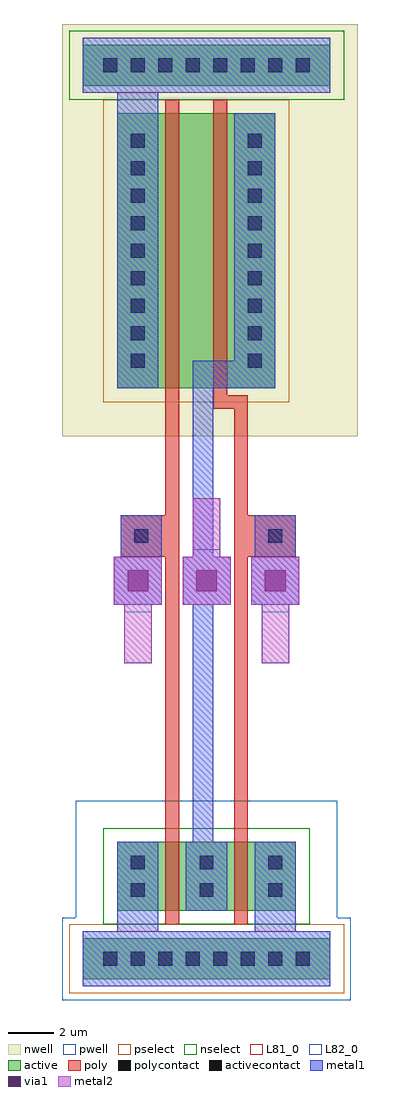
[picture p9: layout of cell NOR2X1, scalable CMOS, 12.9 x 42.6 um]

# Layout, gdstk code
import gdstk
lib = gdstk.Library(unit=1e-6, precision=1e-09)
def R(c, l, rs):  # rectangles x0, y0, x1, y1
    for r in rs: c.add(gdstk.rectangle(r[:2], r[2:], *l))
def A(c, l, x, y, w, h, nx, ny, dx, dy):  # array of equal rectangles
    R(c, l, [(x+i*dx, y+j*dy, x+i*dx+w, y+j*dy+h) for i in range(nx) for j in range(ny)])
pwell = (41, 0)
nwell = (42, 0)
active = (43, 0)
pselect = (44, 0)
nselect = (45, 0)
poly = (46, 0)
polycontact = (47, 0)
activecontact = (48, 0)
metal1 = (49, 0)
via1 = (50, 0)
metal2 = (51, 0)
L81_0 = (81, 0)
L82_0 = (82, 0)

nor2x1 = lib.new_cell('NOR2X1')
R(nor2x1, pwell, [(-1.8,-1.8,10.8,1.8), (-1.2,1.8,10.2,6.9)])
R(nor2x1, nwell, [(-1.8,22.8,11.1,40.8)])
R(nor2x1, active, [(-0.9,-0.9,9.9,0.9), (0.6,2.1,8.4,5.1), (0.6,24.9,7.5,36.9), (-0.9,38.1,9.9,39.9)])
R(nor2x1, pselect, [(-1.5,-1.5,10.5,1.5), (0,24.3,8.1,37.5)])
R(nor2x1, nselect, [(0,1.5,9,5.7), (-1.5,37.5,10.5,40.5)])
R(nor2x1, poly, [(2.7,1.5,3.3,17.55), (5.7,1.5,6.3,17.55), (0.75,17.55,3.3,19.35), (5.7,17.55,8.4,19.35), (2.7,19.35,3.3,37.5), (5.7,19.35,6.3,24), (4.8,24,6.3,24.6), (4.8,24.6,5.4,37.5)])
R(nor2x1, polycontact, [(1.35,18.15,1.95,18.75), (7.2,18.15,7.8,18.75)])
A(nor2x1, activecontact, 0, -0.3, 0.6, 0.6, 8, 2, 1.2, 39)
A(nor2x1, activecontact, 1.2, 2.7, 0.6, 0.6, 3, 2, 3, 1.2)
A(nor2x1, activecontact, 1.2, 25.8, 0.6, 0.6, 1, 9, 0, 1.2)
A(nor2x1, activecontact, 6.3, 25.8, 0.6, 0.6, 1, 9, 0, 1.2)
A(nor2x1, metal1, 0.45, 15.45, 2.1, 2.1, 3, 1, 3, 0)
R(nor2x1, metal1, [(-0.9,-1.2,9.9,1.2), (0.6,1.2,2.4,5.1), (6.6,1.2,8.4,5.1), (3.6,2.1,5.4,5.1), (3.9,5.1,4.8,15.45), (0.75,17.55,2.55,19.35), (3.9,17.55,4.8,24.9), (6.6,17.55,8.4,19.35), (0.6,24.9,2.4,37.8), (3.9,24.9,7.5,26.1), (5.7,26.1,7.5,36.9), (-0.9,37.8,9.9,40.2)])
A(nor2x1, via1, 1.05, 16.05, 0.9, 0.9, 3, 1, 3, 0)
A(nor2x1, metal2, 0.45, 15.45, 2.1, 2.1, 3, 1, 3, 0)
R(nor2x1, metal2, [(0.9,12.9,2.1,15.45), (6.9,12.9,8.1,15.45), (3.9,17.55,5.1,20.1)])
R(nor2x1, L81_0, [(-0.9,-1.2,9.9,1.2), (-0.9,37.8,9.9,40.2)])
R(nor2x1, L82_0, [(0.9,12.9,2.1,15.15), (6.9,12.9,8.1,15.15), (3.9,17.85,5.1,20.1)])

lib.write_gds('NOR2X1.gds')
